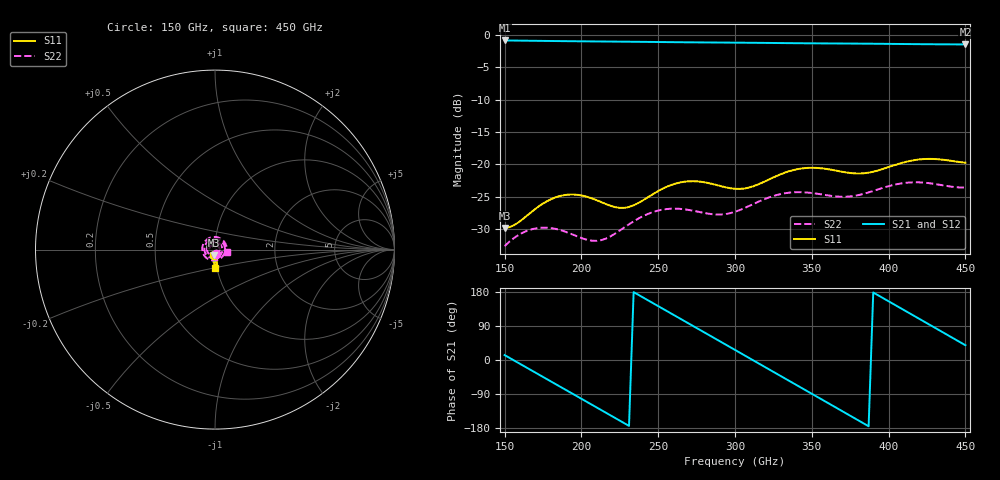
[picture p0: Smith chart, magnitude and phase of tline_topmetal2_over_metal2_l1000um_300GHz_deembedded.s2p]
! Created with skrf 2.0.1 (http://scikit-rf.org).
# GHz S DB R 50.0
!freq dBS11 angS11 dBS21 angS21 dBS12 angS12 dBS22 angS22
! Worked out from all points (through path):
!   101 points, 150 GHz to 450 GHz, reference 50 ohm
!   highest |S21| = -0.86 dB at 150 GHz (marker M1); lowest = -1.5 dB at 450 GHz (marker M2)
!   group delay of S21, straight-line fit = 6.43 ps
!   lowest |S11| = -29.8 dB at 150 GHz (marker M3), VSWR 1.07, Z = 49.4 - j3.15 ohm
!   |S11| at or under -10 dB: start of sweep to end of sweep
!   |S22| runs from -32.7 to -22.8 dB; largest |S21 - S12| = 1.5e-13
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150  -29.84 -98.7  -0.86 13.0  -0.86 13.0  -32.66 -72.5
165  -27.86 -83.7  -0.90 -21.6  -0.90 -21.6  -30.25 -129.8
180  -25.42 -87.5  -0.94 -56.2  -0.94 -56.2  -29.85 172.6
201  -24.86 -101.5  -0.99 -104.6  -0.99 -104.6  -31.48 77.1
216  -26.15 -103.0  -1.02 -139.2  -1.02 -139.2  -31.48 -7.1
228  -26.73 -93.5  -1.05 -167.0  -1.05 -167.0  -29.75 -70.2
240  -25.59 -83.6  -1.07 165.3  -1.07 165.3  -28.03 -124.6
252  -23.88 -82.8  -1.10 137.6  -1.10 137.6  -27.05 -174.8
264  -22.82 -88.0  -1.13 109.8  -1.13 109.8  -26.89 135.1
276  -22.66 -94.0  -1.16 82.1  -1.16 82.1  -27.33 81.5
300  -23.79 -92.5  -1.20 26.6  -1.20 26.6  -27.34 -40.8
312  -23.39 -84.8  -1.22 -1.2  -1.22 -1.2  -26.13 -100.0
324  -22.14 -81.5  -1.25 -29.0  -1.25 -29.0  -24.97 -153.7
339  -20.84 -85.3  -1.28 -63.7  -1.28 -63.7  -24.32 142.6
351  -20.54 -90.4  -1.30 -91.4  -1.30 -91.4  -24.47 90.6
363  -20.86 -93.5  -1.32 -119.2  -1.32 -119.2  -24.89 34.7
378  -21.41 -91.0  -1.34 -154.0  -1.34 -154.0  -24.88 -40.4
390  -21.15 -85.7  -1.36 178.2  -1.36 178.2  -24.12 -99.3
402  -20.28 -83.3  -1.39 150.3  -1.39 150.3  -23.26 -154.1
426  -19.17 -88.9  -1.44 94.7  -1.44 94.7  -22.91 101.6
438  -19.37 -91.5  -1.46 66.9  -1.46 66.9  -23.36 46.1
450  -19.76 -90.4  -1.47 39.0  -1.47 39.0  -23.59 -13.7
